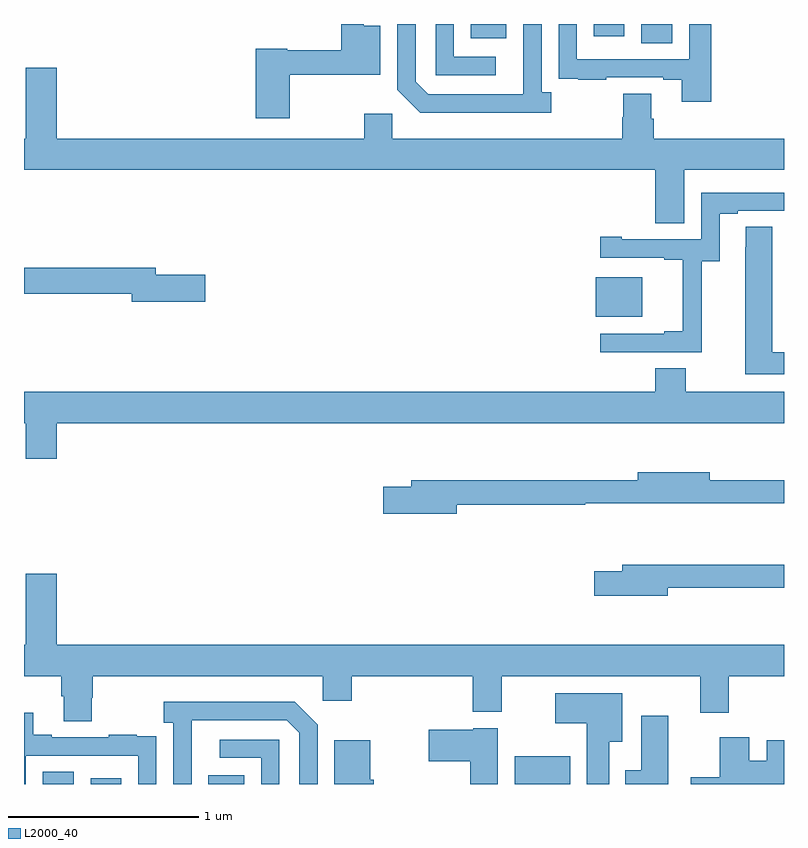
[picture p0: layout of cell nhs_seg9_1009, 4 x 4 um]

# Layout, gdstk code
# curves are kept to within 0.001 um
import gdstk
lib = gdstk.Library(unit=1e-6, precision=1e-09)
def R(c, l, rs):  # rectangles x0, y0, x1, y1
    for r in rs: c.add(gdstk.rectangle(r[:2], r[2:], *l))
def P(c, l, *ps):  # polygons
    for p in ps: c.add(gdstk.Polygon(p, *l))
L2000_40 = (2000, 40)

nhs_seg9_1009 = lib.new_cell('nhs_seg9_1009')
R(nhs_seg9_1009, L2000_40, [(165.098,1214.5,165.262,1214.564), (165.35,1214.5,165.511,1214.53), (165.971,1214.5,166.159,1214.545), (167.582,1214.5,167.875,1214.647), (168.008,1216.958,168.253,1217.167), (168.248,1218.4,168.412,1218.5), (167.351,1218.425,167.539,1218.5), (167.999,1218.435,168.16,1218.5)])
P(nhs_seg9_1009, L2000_40, [(166.398,1218.234),(166.876,1218.234),(166.876,1218.49),(166.787,1218.49),(166.787,1218.5),(166.669,1218.5),(166.669,1218.362),(166.386,1218.362),(166.386,1218.37),(166.22,1218.37),(166.22,1218.003),(166.398,1218.003)],
  [(167.776,1218.142),(167.724,1218.142),(167.724,1218.5),(167.628,1218.5),(167.627,1218.129),(167.127,1218.129),(167.061,1218.195),(167.061,1218.5),(166.965,1218.5),(166.965,1218.153),(167.086,1218.032),(167.776,1218.032)],
  [(168.617,1218.5),(168.501,1218.5),(168.501,1218.315),(167.91,1218.315),(167.91,1218.5),(167.814,1218.5),(167.814,1218.322),(167.815,1218.322),(167.815,1218.213),(167.917,1218.213),(167.917,1218.207),(168.065,1218.207),(168.065,1218.219),(168.365,1218.219),(168.365,1218.207),(168.461,1218.207),(168.461,1218.09),(168.617,1218.09)],
  [(167.482,1218.327),(167.262,1218.327),(167.262,1218.5),(167.166,1218.5),(167.166,1218.231),(167.482,1218.231)],
  [(168.475,1217.732),(169,1217.732),(169,1217.896),(168.314,1217.896),(168.314,1218.002),(168.301,1218.002),(168.301,1218.134),(168.154,1218.134),(168.154,1218.009),(168.149,1218.009),(168.149,1217.896),(166.938,1217.896),(166.938,1218.028),(166.792,1218.028),(166.792,1217.896),(165.172,1217.896),(165.172,1218.271),(165.008,1218.271),(165.008,1217.896),(165,1217.896),(165,1217.732),(168.323,1217.732),(168.323,1217.452),(168.475,1217.452)],
  [(168.567,1217.251),(168.661,1217.251),(168.661,1217.502),(168.757,1217.502),(168.757,1217.517),(169,1217.517),(169,1217.613),(168.564,1217.613),(168.564,1217.367),(168.145,1217.367),(168.145,1217.38),(168.033,1217.38),(168.033,1217.271),(168.371,1217.271),(168.371,1217.259),(168.467,1217.259),(168.467,1216.882),(168.371,1216.882),(168.371,1216.869),(168.033,1216.869),(168.033,1216.773),(168.567,1216.773)],
  [(169,1216.772),(168.937,1216.772),(168.937,1217.432),(168.798,1217.432),(168.798,1217.324),(168.797,1217.324),(168.797,1216.656),(169,1216.656)],
  [(165.955,1217.18),(165.694,1217.18),(165.694,1217.216),(165,1217.216),(165,1217.08),(165.566,1217.08),(165.566,1217.038),(165.955,1217.038)],
  [(165.172,1216.4),(169,1216.4),(169,1216.564),(168.483,1216.564),(168.483,1216.688),(168.323,1216.688),(168.323,1216.564),(165,1216.564),(165,1216.4),(165.008,1216.4),(165.008,1216.212),(165.172,1216.212)],
  [(167.278,1215.97),(167.954,1215.97),(167.954,1215.978),(169,1215.978),(169,1216.099),(168.61,1216.099),(168.61,1216.141),(168.23,1216.141),(168.23,1216.099),(167.039,1216.099),(167.039,1216.065),(166.89,1216.065),(166.89,1215.923),(167.278,1215.923)],
  [(168.388,1215.534),(169,1215.534),(169,1215.655),(168.149,1215.655),(168.149,1215.621),(168,1215.621),(168,1215.491),(168.388,1215.491)],
  [(165.357,1214.955),(165.362,1214.955),(165.362,1215.068),(166.572,1215.068),(166.572,1214.937),(166.724,1214.937),(166.724,1215.068),(167.363,1215.068),(167.363,1214.879),(167.515,1214.879),(167.515,1215.068),(168.56,1215.068),(168.56,1214.874),(168.708,1214.874),(168.708,1215.068),(169,1215.068),(169,1215.232),(165.172,1215.232),(165.172,1215.607),(165.008,1215.607),(165.008,1215.232),(165,1215.232),(165,1215.068),(165.197,1215.068),(165.197,1214.962),(165.209,1214.962),(165.209,1214.83),(165.357,1214.83)],
  [(168.079,1214.723),(168.148,1214.723),(168.148,1214.977),(167.796,1214.977),(167.796,1214.819),(167.963,1214.819),(167.963,1214.5),(168.079,1214.5)],
  [(165.882,1214.835),(166.383,1214.835),(166.449,1214.769),(166.449,1214.5),(166.545,1214.5),(166.545,1214.811),(166.424,1214.932),(165.735,1214.932),(165.735,1214.822),(165.786,1214.822),(165.786,1214.5),(165.882,1214.5)],
  [(165.009,1214.649),(165.6,1214.649),(165.6,1214.5),(165.696,1214.5),(165.696,1214.642),(165.695,1214.642),(165.695,1214.751),(165.593,1214.751),(165.593,1214.758),(165.445,1214.758),(165.445,1214.745),(165.145,1214.745),(165.145,1214.758),(165.049,1214.758),(165.049,1214.875),(165,1214.875),(165,1214.5),(165.009,1214.5)],
  [(168.391,1214.86),(168.248,1214.86),(168.248,1214.572),(168.164,1214.572),(168.164,1214.5),(168.391,1214.5)],
  [(167.494,1214.794),(167.364,1214.794),(167.364,1214.785),(167.13,1214.785),(167.13,1214.62),(167.348,1214.62),(167.348,1214.5),(167.494,1214.5)],
  [(169,1214.731),(168.908,1214.731),(168.908,1214.622),(168.817,1214.622),(168.817,1214.746),(168.662,1214.746),(168.662,1214.535),(168.51,1214.535),(168.51,1214.5),(169,1214.5)],
  [(166.344,1214.733),(166.029,1214.733),(166.029,1214.637),(166.248,1214.637),(166.248,1214.5),(166.344,1214.5)],
  [(166.841,1214.523),(166.822,1214.523),(166.822,1214.731),(166.634,1214.731),(166.634,1214.5),(166.841,1214.5)])

lib.write_gds('nhs_seg9_1009.gds')
